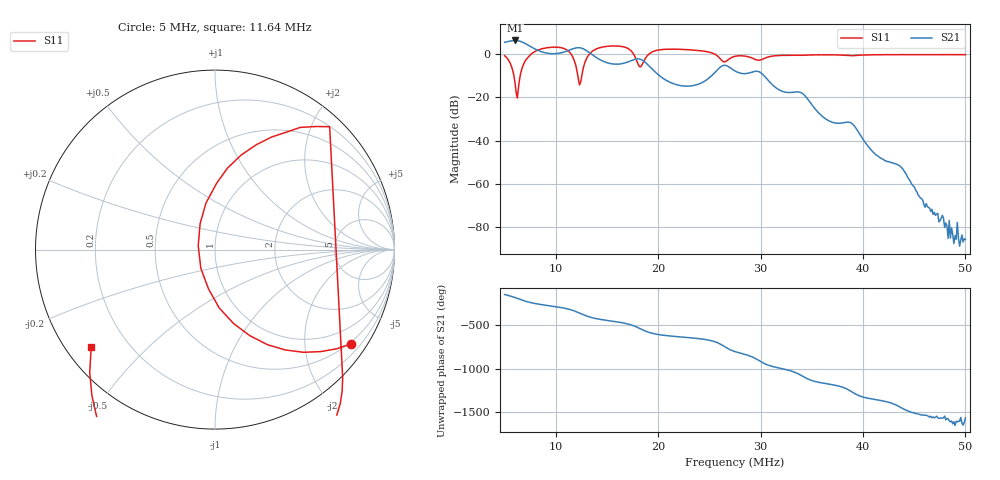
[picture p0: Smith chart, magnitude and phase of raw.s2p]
! S11/S21 only; reverse parameters are placeholders. Device calibration unverified.
! NanoVNA F V2 profile | COM3 | 2026-09-08T12:00:20.2286523-04:00 | device calibration unverified
# HZ S RI R 50
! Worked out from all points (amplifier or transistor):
!   401 points, 5 MHz to 50 MHz, reference 50 ohm
!   highest |S21| = 6.4 dB at 6.013 MHz (marker M1)
!   |S21| within 3 dB of that: start of sweep to 7.595 MHz
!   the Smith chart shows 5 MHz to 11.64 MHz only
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5000000  0.7602 -0.5237  -1.5 -1.141  0 0  0 0
6012500  -0.0363 -0.2189  -2.082 -0.082  0 0  0 0
7250000  0.4753 0.6809  -1.143 1.185  0 0  0 0
7812500  0.6982 -0.8567  -0.6327 1.229  0 0  0 0
1.00625e7  -0.0438 -1.458  0.2515 1.003  0 0  0 0
1.1525e7  -0.698 -0.6844  1.009 0.8146  0 0  0 0
1.25375e7  0.2331 0.2207  1.362 -0.2045  0 0  0 0
1.38875e7  1.152 -0.6145  0.4301 -0.7441  0 0  0 0
1.625e7  0.5344 -1.431  -0.1446 -0.5749  0 0  0 0
1.715e7  -0.1907 -1.295  -0.4024 -0.5449  0 0  0 0
1.7825e7  -0.6876 -0.3716  -0.6966 -0.3323  0 0  0 0
1.86125e7  0.307 0.6316  -0.6495 0.2213  0 0  0 0
1.92875e7  1.029 0.3465  -0.3274 0.3555  0 0  0 0
2.0075e7  1.259 -0.0486  -0.1286 0.2995  0 0  0 0
2.39e7  1.025 -0.6611  0.0758 0.1864  0 0  0 0
2.62625e7  0.5176 -0.468  0.53 -0.088  0 0  0 0
2.75e7  0.8162 -0.364  0.0497 -0.4063  0 0  0 0
3.05375e7  0.764 -0.3316  -0.1783 0.2179  0 0  0 0
3.50375e7  0.7004 -0.6591  0.0334 -0.0568  0 0  0 0
4.2575e7  0.4415 -0.8681  0.00212 0.00242  0 0  0 0
4.80875e7  0.2323 -0.949  -0.00011 -5.4e-05  0 0  0 0
5e7  0.1598 -0.965  -3.4e-05 -3.8e-05  0 0  0 0
